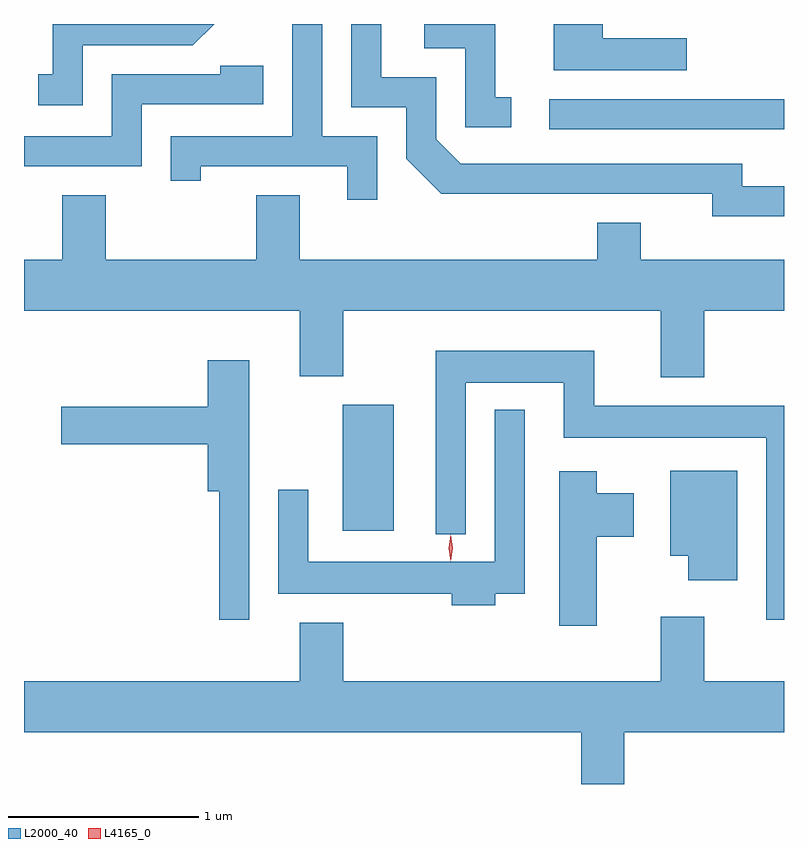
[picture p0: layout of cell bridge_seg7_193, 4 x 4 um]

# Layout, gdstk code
import gdstk
lib = gdstk.Library(unit=1e-6, precision=1e-09)
def R(c, l, rs):  # rectangles x0, y0, x1, y1
    for r in rs: c.add(gdstk.rectangle(r[:2], r[2:], *l))
def P(c, l, *ps):  # polygons
    for p in ps: c.add(gdstk.Polygon(p, *l))
L2000_40 = (2000, 40)
L4165_0 = (4165, 0)

bridge_seg7_193 = lib.new_cell('bridge_seg7_193')
R(bridge_seg7_193, L2000_40, [(1489.546,1704.276,1489.814,1704.939), (1490.633,1706.391,1491.869,1706.549)])
P(bridge_seg7_193, L2000_40, [(1490.433,1706.559),(1490.349,1706.559),(1490.349,1706.944),(1489.976,1706.944),(1489.976,1706.816),(1490.191,1706.816),(1490.191,1706.401),(1490.433,1706.401)],
  [(1491.869,1706.089),(1491.649,1706.089),(1491.649,1706.209),(1490.167,1706.209),(1490.039,1706.337),(1490.039,1706.664),(1489.749,1706.664),(1489.749,1706.944),(1489.591,1706.944),(1489.591,1706.506),(1489.881,1706.506),(1489.881,1706.234),(1490.064,1706.051),(1491.491,1706.051),(1491.491,1705.931),(1491.869,1705.931)],
  [(1488.179,1706.831),(1488.757,1706.831),(1488.87,1706.944),(1488.021,1706.944),(1488.021,1706.679),(1487.943,1706.679),(1487.943,1706.516),(1488.179,1706.516)],
  [(1489.729,1706.354),(1489.439,1706.354),(1489.439,1706.944),(1489.281,1706.944),(1489.281,1706.354),(1488.641,1706.354),(1488.641,1706.118),(1488.799,1706.118),(1488.799,1706.196),(1489.571,1706.196),(1489.571,1706.018),(1489.729,1706.018)],
  [(1491.358,1706.869),(1490.914,1706.869),(1490.914,1706.944),(1490.656,1706.944),(1490.656,1706.701),(1491.358,1706.701)],
  [(1488.489,1706.521),(1489.129,1706.521),(1489.129,1706.724),(1488.901,1706.724),(1488.901,1706.679),(1488.331,1706.679),(1488.331,1706.354),(1487.869,1706.354),(1487.869,1706.196),(1488.489,1706.196)],
  [(1491.449,1705.436),(1491.869,1705.436),(1491.869,1705.704),(1491.114,1705.704),(1491.114,1705.899),(1490.886,1705.899),(1490.886,1705.704),(1489.319,1705.704),(1489.319,1706.044),(1489.091,1706.044),(1489.091,1705.704),(1488.299,1705.704),(1488.299,1706.044),(1488.071,1706.044),(1488.071,1705.704),(1487.869,1705.704),(1487.869,1705.436),(1489.321,1705.436),(1489.321,1705.091),(1489.549,1705.091),(1489.549,1705.436),(1491.221,1705.436),(1491.221,1705.086),(1491.449,1705.086)],
  [(1491.869,1704.934),(1490.869,1704.934),(1490.869,1705.224),(1490.036,1705.224),(1490.036,1704.258),(1490.194,1704.258),(1490.194,1705.056),(1490.711,1705.056),(1490.711,1704.766),(1491.776,1704.766),(1491.776,1703.808),(1491.869,1703.808)],
  [(1489.054,1705.174),(1488.836,1705.174),(1488.836,1704.929),(1488.066,1704.929),(1488.066,1704.731),(1488.836,1704.731),(1488.836,1704.486),(1488.896,1704.486),(1488.896,1703.808),(1489.054,1703.808)],
  [(1490.349,1703.946),(1490.504,1703.946),(1490.504,1704.913),(1490.346,1704.913),(1490.346,1704.114),(1489.364,1704.114),(1489.364,1704.493),(1489.206,1704.493),(1489.206,1703.946),(1490.121,1703.946),(1490.121,1703.886),(1490.349,1703.886)],
  [(1491.624,1704.594),(1491.271,1704.594),(1491.271,1704.146),(1491.366,1704.146),(1491.366,1704.016),(1491.624,1704.016)],
  [(1490.884,1704.246),(1491.079,1704.246),(1491.079,1704.474),(1490.884,1704.474),(1490.884,1704.589),(1490.686,1704.589),(1490.686,1703.776),(1490.884,1703.776)],
  [(1491.029,1703.216),(1491.869,1703.216),(1491.869,1703.484),(1491.449,1703.484),(1491.449,1703.824),(1491.221,1703.824),(1491.221,1703.484),(1489.549,1703.484),(1489.549,1703.794),(1489.321,1703.794),(1489.321,1703.484),(1487.869,1703.484),(1487.869,1703.216),(1490.801,1703.216),(1490.801,1702.944),(1491.029,1702.944)])
P(bridge_seg7_193, L4165_0, [(1490.115,1704.119),(1490.114,1704.12),(1490.105,1704.186),(1490.114,1704.252),(1490.115,1704.253),(1490.115,1704.252),(1490.125,1704.186),(1490.115,1704.12)],
  [(1490.114,1704.117),(1490.105,1704.186),(1490.114,1704.256),(1490.115,1704.256),(1490.116,1704.256),(1490.125,1704.186),(1490.116,1704.117),(1490.115,1704.117)])

lib.write_gds('bridge_seg7_193.gds')
